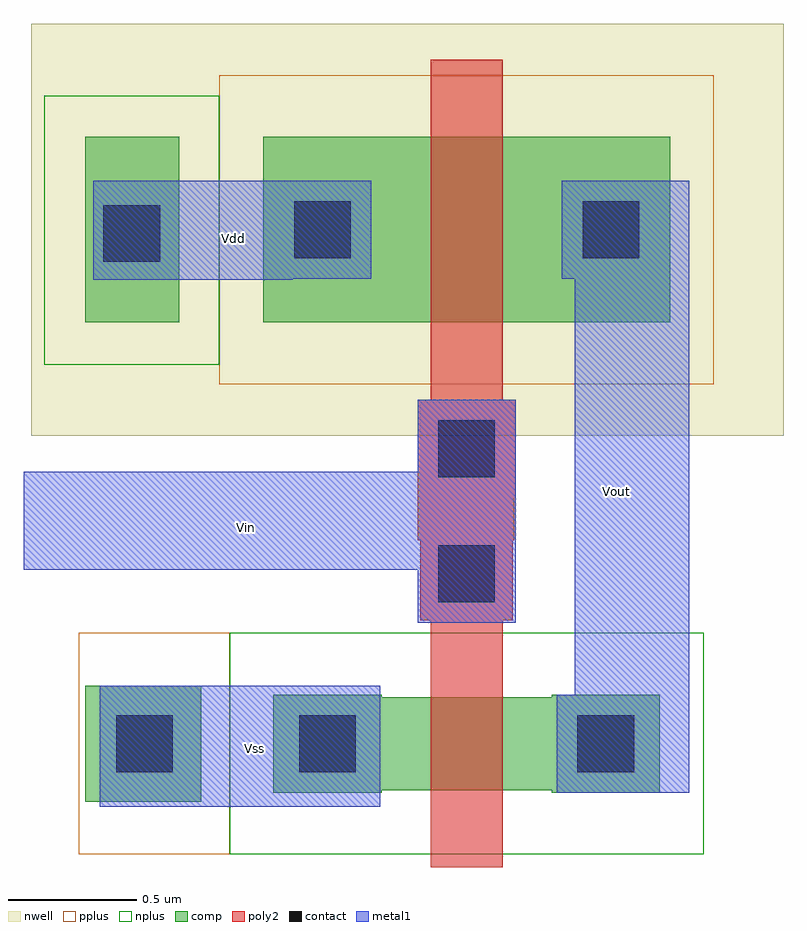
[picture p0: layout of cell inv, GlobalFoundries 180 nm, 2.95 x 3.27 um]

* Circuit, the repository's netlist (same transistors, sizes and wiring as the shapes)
** sch_path: /workspaces/Talleres-fork/resuelto-klayout/schematic/inv.sch

.subckt inv vout vdd vin vss
*.PININFO vout:B vdd:B vin:B vss:B
XM1 vout vin vdd vdd pfet_03v3 L=0.280u W=0.720u nf=1 ad='int((nf+1)/2) * W/nf * 0.18u' as='int((nf+2)/2) * W/nf * 0.18u'
+ pd='2*int((nf+1)/2) * (W/nf + 0.18u)' ps='2*int((nf+2)/2) * (W/nf + 0.18u)' nrd='0.18u / W' nrs='0.18u / W'
+ sa=0 sb=0 sd=0 m=1
XM2 vout vin vss vss nfet_03v3 L=0.280u W=0.360u nf=1 ad='int((nf+1)/2) * W/nf * 0.18u' as='int((nf+2)/2) * W/nf * 0.18u'
+ pd='2*int((nf+1)/2) * (W/nf + 0.18u)' ps='2*int((nf+2)/2) * (W/nf + 0.18u)' nrd='0.18u / W' nrs='0.18u / W'
+ sa=0 sb=0 sd=0 m=1
.ends
.end

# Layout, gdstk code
import gdstk
lib = gdstk.Library(unit=1e-6, precision=5e-09)
def R(c, l, rs):  # rectangles x0, y0, x1, y1
    for r in rs: c.add(gdstk.rectangle(r[:2], r[2:], *l))
nwell = (21, 0)
comp = (22, 0)
poly2 = (30, 0)
pplus = (31, 0)
nplus = (32, 0)
contact = (33, 0)
metal1 = (34, 0)

nfet = lib.new_cell('nfet')
R(nfet, comp, [(-0.42,-0.01,0,0.37), (0.66,-0.01,1.08,0.37), (0,0,0.66,0.36)])
R(nfet, poly2, [(0.19,-0.3,0.47,0.66), (0.15,0.66,0.51,1.02)])
R(nfet, nplus, [(-0.59,-0.25,1.25,0.61)])
R(nfet, contact, [(-0.32,0.07,-0.1,0.29), (0.76,0.07,0.98,0.29), (0.22,0.73,0.44,0.95)])
R(nfet, metal1, [(-0.4,-0.01,-0.02,0.37), (0.68,-0.01,1.06,0.37), (0.14,0.65,0.52,1.03)])

pfet = lib.new_cell('pfet')
R(pfet, nwell, [(-0.9,-0.44,1.56,1.16)])
R(pfet, comp, [(-0.46,0,0,0.72), (0,0,0.66,0.72), (0.66,0,1.12,0.72)])
R(pfet, poly2, [(0.14,-0.68,0.52,-0.3), (0.19,-0.3,0.47,1.02)])
R(pfet, pplus, [(-0.63,-0.24,1.29,0.96)])
R(pfet, contact, [(0.22,-0.6,0.44,-0.38), (-0.34,0.25,-0.12,0.47), (0.78,0.25,1,0.47)])
R(pfet, metal1, [(0.14,-0.68,0.52,-0.3), (-0.42,0.17,-0.04,0.55), (0.7,0.17,1.08,0.55)])

inv = lib.new_cell('inv')
R(inv, nwell, [(-2.075,1.235,-1.365,2.835)])
R(inv, comp, [(-1.865,-0.185,-1.415,0.265), (-1.865,1.675,-1.5,2.395)])
R(inv, poly2, [(-0.575,0.83,-0.2,1)])
R(inv, pplus, [(-1.89,-0.39,-1.305,0.47)])
R(inv, nplus, [(-2.025,1.51,-1.345,2.555)])
R(inv, contact, [(-1.745,-0.07,-1.525,0.15), (-1.795,1.91,-1.575,2.13)])
R(inv, metal1, [(-1.81,-0.205,-0.72,0.265), (0.035,-0.15,0.48,2.225), (-2.105,0.715,-0.195,1.095), (-1.835,1.84,-1.06,2.225)])
inv.add(gdstk.Reference(nfet, (-0.715,-0.14)))
inv.add(gdstk.Reference(pfet, (-0.715,1.675)))
inv.add(gdstk.Label('Vdd', (-1.29,2), layer=34, texttype=10))
inv.add(gdstk.Label('Vin', (-1.24,0.88), layer=34, texttype=10))
inv.add(gdstk.Label('Vss', (-1.21,0.02), layer=34, texttype=10))
inv.add(gdstk.Label('Vout', (0.195,1.02), layer=34, texttype=10))

lib.write_gds('inv.gds')
